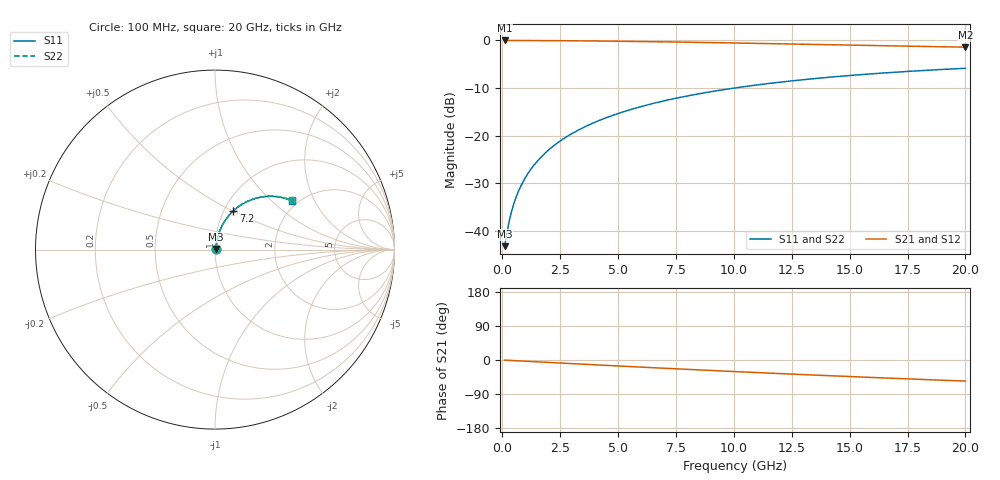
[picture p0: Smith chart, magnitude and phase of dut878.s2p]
! Touchstone file exported from HFSS 2026.1.0
!  File:  C:/ffzhzh/LocalFiles/Ansys_Project_Files/temp_train_BSMRDL_878_1783171005_43440.aedt
!  Generated:  09:18:08 PM Jul  4, 2026
!  Design:  BSMRDL
!  Project:  temp_train_BSMRDL_878_1783171005_43440
! Variables:
!  h_bsmrdl = 3.55um
!  h_ox = 20um
!  h_rdl = 5um
!  h_sub = 80um
!  h_tmrdl = 5um
!  h_tsv = 80um
!  h_via = 3um
!  l_bsmrdl = 849.79um
!  l_sub = 1249.79um
!  l_tmrdl = 200um
!  m_sub = 200um
!  pitch = 40.71um
!  r_tsv = 6um
!  s_tmrdl = 10um
!  w_bsmrdl = 14.77um
!  w_sub = 500um
!  w_tmrdl = 12um
!  x_tsv_center1 = 206um
!  x_tsv_center2 = 1070.56um
!  x_tsv_center3 = 1282.56um
!  x_tsv_center4 = 2147.12um
!  x_tsv_center5 = 2359.12um
!  x_tsv_center6 = 3223.68um
# GHz S MA R 50.000000
! Terminal data exported
! Port[1] = BSM_RDL1_1_T1
! Port[2] = BSM_RDL1_1_T2
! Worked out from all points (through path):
!   200 points, 100 MHz to 20 GHz, reference 50 ohm
!   highest |S21| = -0.05 dB at 100 MHz (marker M1); lowest = -1.5 dB at 20 GHz (marker M2)
!   group delay of S21, straight-line fit = 7.74 ps
!   lowest |S11| = -43.2 dB at 100 MHz (marker M3), VSWR 1.01, Z = 50.6 + j0.378 ohm
!   |S11| at or under -10 dB: start of sweep to 10.08 GHz
!   |S22| runs from -43.2 to -5.9 dB; largest |S21 - S12| = 8e-15
!   S11 on the Smith chart (normalised r, x): 100 MHz: 1.01, +0.01; 7.2 GHz: 1.11, +0.50; 20 GHz: 1.85, +1.36
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0.1  0.006896 32.8  0.9942 -0.3  0.9942 -0.3  0.006896 32.8
! Gamma 0 0 0 0
! Port Impedance 50 0 50 0
0.2  0.009533 51.0  0.9941 -0.7  0.9941 -0.7  0.009533 51.0
0.3  0.01268 60.3  0.9939 -1.0  0.9939 -1.0  0.01268 60.3
0.4  0.01597 65.6  0.9936 -1.3  0.9936 -1.3  0.01597 65.6
0.5  0.01932 69.0  0.9934 -1.6  0.9934 -1.6  0.01932 69.0
0.6  0.02268 71.2  0.9932 -2.0  0.9932 -2.0  0.02268 71.3
0.8  0.02945 74.1  0.9928 -2.6  0.9928 -2.6  0.02945 74.1
1.1  0.03967 76.3  0.9922 -3.6  0.9922 -3.6  0.03966 76.3
1.3  0.04651 77.0  0.9918 -4.2  0.9918 -4.2  0.04651 77.0
1.6  0.05679 77.5  0.9911 -5.1  0.9911 -5.1  0.05679 77.5
2.1  0.07391 77.4  0.9897 -6.7  0.9897 -6.7  0.07391 77.4
2.7  0.09433 76.5  0.9876 -8.6  0.9876 -8.6  0.09433 76.6
3.5  0.1212 74.8  0.9842 -11.1  0.9842 -11.1  0.1212 74.9
4.2  0.1443 73.1  0.9805 -13.3  0.9805 -13.3  0.1443 73.1
5  0.1701 70.9  0.9757 -15.8  0.9757 -15.8  0.1701 71.0
6.8  0.2256 65.9  0.963 -21.2  0.963 -21.2  0.2256 66.0
7.2  0.2374 64.8  0.9598 -22.4  0.9598 -22.4  0.2374 64.8
8.6  0.2771 60.9  0.9482 -26.5  0.9482 -26.5  0.2771 61.0
10.1  0.3169 56.8  0.9348 -30.7  0.9348 -30.7  0.3169 56.9
13.4  0.3939 48.1  0.9039 -39.6  0.9039 -39.6  0.3939 48.3
16.7  0.4571 40.0  0.8734 -47.9  0.8734 -47.9  0.4571 40.2
20  0.5074 32.4  0.8455 -55.7  0.8455 -55.7  0.5074 32.7
